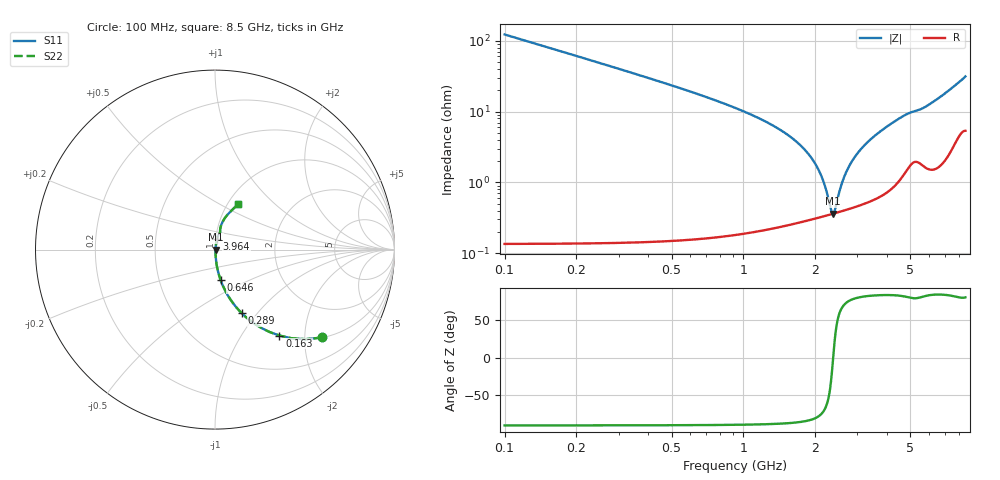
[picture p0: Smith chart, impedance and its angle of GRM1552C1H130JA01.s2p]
!Murata Part Number: GRM1552C1H130JA01
!These Parameters are Measured in Series Mode Connection
!Data Generated on Mar 30, 2021
!  o--ll--o
!Port1  Port2
!  o------o
!Operation Temp=25[degC], DC Bias Voltage=0[V]
!Freq. Start=100[MHz] Stop=9[GHz] 401[Steps]
# Hz S RI R 50
!Freq.(Hz) S11(Real) S11(Imag) S21(Real) S21(Imag) S12(Real) S12(Imag) S22(Real) S22(Imag)
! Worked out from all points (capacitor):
!   401 points, 100 MHz to 8.5 GHz, reference 50 ohm
!   read as one part in series: C = 13 pF near 142 MHz
!   lowest |Z| = 362 mohm at 2.368 GHz (marker M1)
!   series resonance near 2.375 GHz, so ESL is about 350 pH
!   S11 on the Smith chart (normalised r, x): 100 MHz: 1.00, -2.44; 163 MHz: 1.00, -1.50; 289 MHz: 1.00, -0.83; 646 MHz: 1.00, -0.35; 3.964 GHz: 1.01, +0.12; 8.5 GHz: 1.11, +0.62
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1e8  0.5989 -0.4896  0.4011 0.4896  0.4011 0.4896  0.5989 -0.4896
1.63e8  0.3588 -0.4787  0.6412 0.4787  0.6412 0.4787  0.3588 -0.4787
2.26e8  0.2243 -0.4158  0.7757 0.4158  0.7757 0.4158  0.2243 -0.4158
2.89e8  0.1492 -0.3546  0.8508 0.3546  0.8508 0.3546  0.1492 -0.3546
4.36e8  0.0698 -0.2521  0.9302 0.2521  0.9302 0.2521  0.0698 -0.2521
6.46e8  0.0313 -0.1698  0.9687 0.1698  0.9687 0.1698  0.0313 -0.1698
1.507e9  0.0048 -0.0484  0.9952 0.0484  0.9952 0.0484  0.0048 -0.0484
1.801e9  0.00366 -0.0289  0.9963 0.0289  0.9963 0.0289  0.00366 -0.0289
2.011e9  0.0034 -0.0173  0.9966 0.0173  0.9966 0.0173  0.0034 -0.0173
2.158e9  0.0034 -0.00996  0.9966 0.00996  0.9966 0.00996  0.0034 -0.00996
2.326e9  0.00354 -0.00217  0.9965 0.00217  0.9965 0.00217  0.00354 -0.00217
2.368e9  0.00359 -0.000313  0.9964 0.000313  0.9964 0.000313  0.00359 -0.000313
2.41e9  0.00366 0.00152  0.9963 -0.00152  0.9963 -0.00152  0.00366 0.00152
2.536e9  0.00389 0.00686  0.9961 -0.00686  0.9961 -0.00686  0.00389 0.00686
2.641e9  0.00412 0.0111  0.9959 -0.0111  0.9959 -0.0111  0.00412 0.0111
2.914e9  0.00491 0.0217  0.9951 -0.0217  0.9951 -0.0217  0.00491 0.0217
3.334e9  0.0066 0.037  0.9934 -0.037  0.9934 -0.037  0.0066 0.037
3.964e9  0.0106 0.059  0.9894 -0.059  0.9894 -0.059  0.0106 0.059
4.3e9  0.0139 0.0706  0.9861 -0.0706  0.9861 -0.0706  0.0139 0.0706
5.707e9  0.0283 0.1076  0.9717 -0.1076  0.9717 -0.1076  0.0283 0.1076
7.114e9  0.0536 0.1738  0.9464 -0.1738  0.9464 -0.1738  0.0536 0.1738
8.5e9  0.1258 0.2561  0.8742 -0.2561  0.8742 -0.2561  0.1258 0.2561
